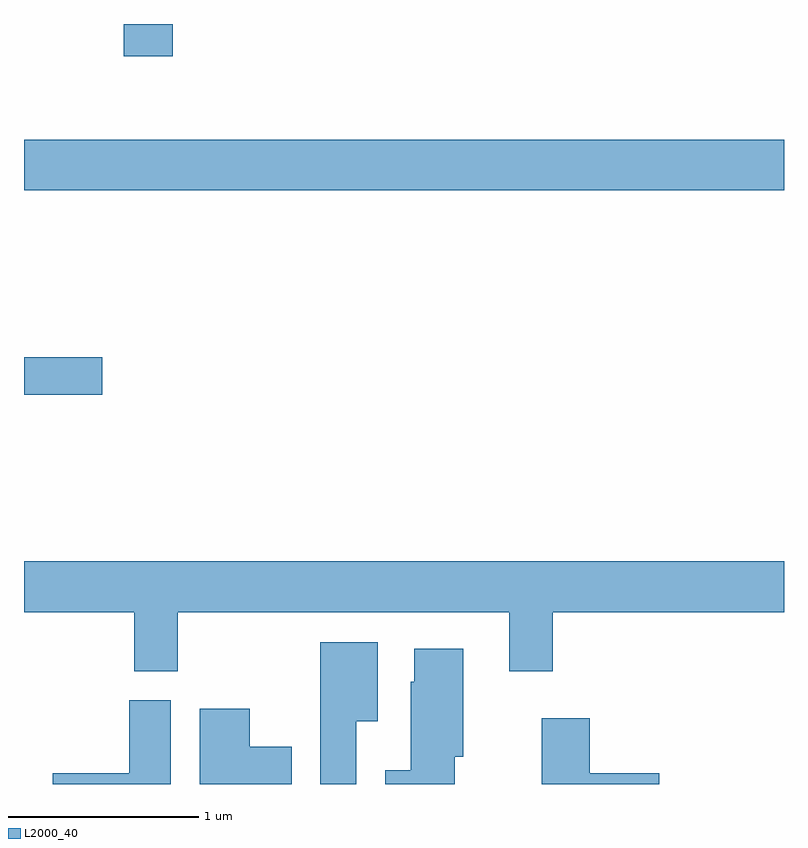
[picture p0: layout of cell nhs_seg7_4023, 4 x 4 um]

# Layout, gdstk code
import gdstk
lib = gdstk.Library(unit=1e-6, precision=1e-09)
def R(c, l, rs):  # rectangles x0, y0, x1, y1
    for r in rs: c.add(gdstk.rectangle(r[:2], r[2:], *l))
def P(c, l, *ps):  # polygons
    for p in ps: c.add(gdstk.Polygon(p, *l))
L2000_40 = (2000, 40)

nhs_seg7_4023 = lib.new_cell('nhs_seg7_4023')
R(nhs_seg7_4023, L2000_40, [(307.611,1764.301,308.024,1764.499), (307.611,1765.376,311.611,1765.644), (308.136,1766.081,308.394,1766.252)])
P(nhs_seg7_4023, L2000_40, [(308.419,1763.156),(310.166,1763.156),(310.166,1762.846),(310.394,1762.846),(310.394,1763.156),(311.611,1763.156),(311.611,1763.424),(307.611,1763.424),(307.611,1763.156),(308.191,1763.156),(308.191,1762.846),(308.419,1762.846)],
  [(309.359,1762.581),(309.474,1762.581),(309.474,1762.999),(309.171,1762.999),(309.171,1762.252),(309.359,1762.252)],
  [(309.879,1762.396),(309.924,1762.396),(309.924,1762.964),(309.666,1762.964),(309.666,1762.789),(309.646,1762.789),(309.646,1762.324),(309.511,1762.324),(309.511,1762.252),(309.879,1762.252)],
  [(308.384,1762.694),(308.166,1762.694),(308.166,1762.309),(307.761,1762.309),(307.761,1762.252),(308.384,1762.252)],
  [(309.019,1762.449),(308.799,1762.449),(308.799,1762.649),(308.536,1762.649),(308.536,1762.252),(309.019,1762.252)],
  [(310.954,1762.309),(310.589,1762.309),(310.589,1762.599),(310.336,1762.599),(310.336,1762.252),(310.954,1762.252)])

lib.write_gds('nhs_seg7_4023.gds')
